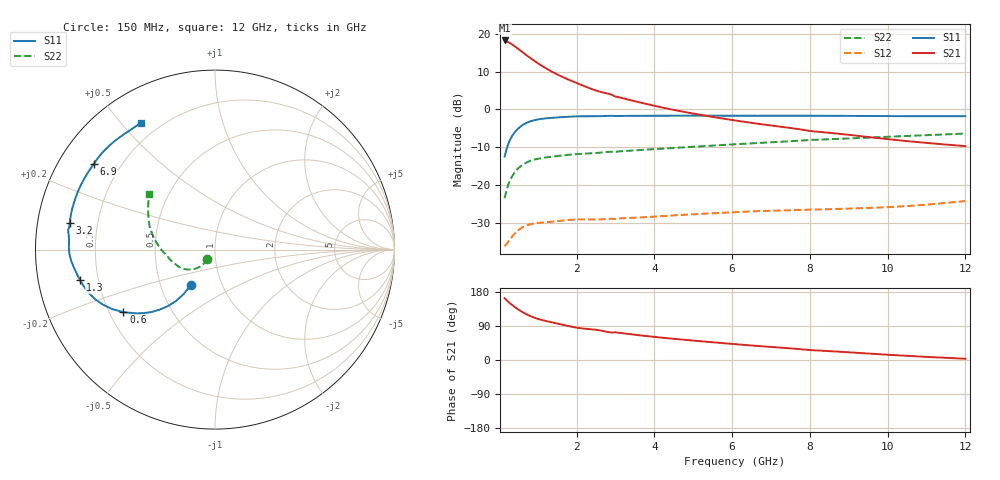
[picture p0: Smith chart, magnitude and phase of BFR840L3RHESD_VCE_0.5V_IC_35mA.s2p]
! Infineon Technologies  Discrete & RF Semiconductors
! BFR840L3RHESD
! VCE =  0.5 V,  IC =  35 mA
! Common Emitter S-Parameters:  Jun 2012
# GHz  S  MA  R  50
!  f  S11  S21  S12  S22
! GHz  MAG  ANG  MAG  ANG  MAG  ANG  MAG  ANG
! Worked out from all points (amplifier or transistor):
!   91 points, 150 MHz to 12 GHz, reference 50 ohm
!   highest |S21| = 18.2 dB at 150 MHz (marker M1)
!   |S21| within 3 dB of that: start of sweep to 598.5 MHz
!   unconditionally stable (mu >= 1): start of sweep to end of sweep
!   at 1.3 GHz: K = 1.81, MAG = 14.8 dB, |S12| = -29.6 dB
!   at 4.3 GHz: K = 3.54, MAG = 5.8 dB, |S12| = -28.0 dB
!   at 12 GHz: K = 6.53, MAG = -3.9 dB, |S12| = -24.1 dB
!   S11 on the Smith chart (normalised r, x): 150 MHz: 0.71, -0.30; 600 MHz: 0.26, -0.29; 1.3 GHz: 0.13, -0.11; 3.2 GHz: 0.10, +0.09; 6.9 GHz: 0.10, +0.32; 12 GHz: 0.13, +0.57
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0.15  0.239 -124.4  8.126 163.2  0.0158 19.2  0.0677 -129.3
0.2  0.3016 -125.1  7.923 157.9  0.0169 21.5  0.0866 -127.8
0.25  0.3576 -127.1  7.686 153.1  0.0183 23.5  0.1039 -128.6
0.35  0.4527 -132.5  7.145 144.5  0.0213 25.9  0.1335 -132.4
0.45  0.5298 -138.1  6.57 136.9  0.0243 26.8  0.1576 -136.9
0.6  0.6183 -145.7  5.745 127.0  0.0278 26.5  0.1853 -143.2
0.7  0.662 -150.0  5.252 121.3  0.0295 25.7  0.199 -146.7
0.8  0.6954 -153.8  4.812 116.4  0.0306 24.6  0.2095 -149.9
0.9  0.7204 -157.2  4.424 112.2  0.0314 23.4  0.2175 -152.5
1.1  0.7523 -162.8  3.783 105.8  0.0323 21.1  0.2285 -156.9
1.3  0.771 -167.3  3.288 100.9  0.033 19.6  0.2363 -160.3
1.8  0.8033 -175.5  2.469 89.4  0.035 19.2  0.2529 -166.2
2.2  0.814 179.4  2.031 82.7  0.0356 19.1  0.2617 -169.6
2.9  0.8253 172.3  1.571 72.3  0.0363 20.3  0.2777 -174.1
3  0.8217 171.2  1.479 73.2  0.0361 19.5  0.2765 -174.7
3.2  0.823 169.6  1.403 70.5  0.0369 20.7  0.2828 -176.0
4.2  0.8281 161.8  1.063 58.9  0.0393 22.9  0.3045 178.6
6.1  0.8278 149.2  0.715 41.6  0.0444 25.3  0.3484 168.6
6.9  0.8275 144.6  0.625 35.2  0.0461 25.9  0.3673 164.5
8.5  0.826 135.6  0.493 23.4  0.0485 27.1  0.4056 155.7
10.5  0.8169 126.1  0.383 11.0  0.0533 31.4  0.4475 146.2
12  0.8174 120.2  0.329 3.3  0.0621 32.4  0.4813 139.8
